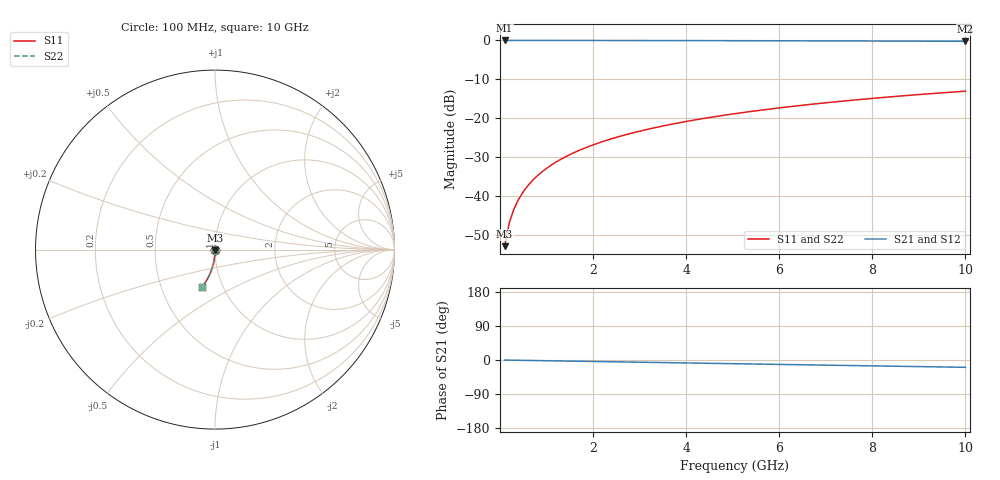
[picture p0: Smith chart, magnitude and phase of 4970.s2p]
# Hz S RI R 50.00
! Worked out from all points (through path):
!   100 points, 100 MHz to 10 GHz, reference 50 ohm
!   highest |S21| = 0.00 dB at 100 MHz (marker M1); lowest = -0.2 dB at 10 GHz (marker M2)
!   group delay of S21, straight-line fit = 5.37 ps
!   lowest |S11| = -52.8 dB at 100 MHz (marker M3), VSWR 1.00, Z = 50 - j0.228 ohm
!   |S11| at or under -10 dB: start of sweep to end of sweep
!   |S22| runs from -52.8 to -13.0 dB; largest |S21 - S12| = 0
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1e8  0.000159 -0.00228  0.9998 -0.00338  0.9998 -0.00338  0.000159 -0.00228
2e8  0.000135 -0.00456  0.9998 -0.00675  0.9998 -0.00675  0.000135 -0.00456
3e8  9.43e-05 -0.00683  0.9997 -0.0101  0.9997 -0.0101  9.43e-05 -0.00683
4e8  3.85e-05 -0.00911  0.9997 -0.0135  0.9997 -0.0135  3.85e-05 -0.00911
5e8  -3.29e-05 -0.0114  0.9996 -0.0169  0.9996 -0.0169  -3.29e-05 -0.0114
6e8  -0.00012 -0.0137  0.9995 -0.0203  0.9995 -0.0203  -0.00012 -0.0137
7e8  -0.000222 -0.0159  0.9994 -0.0236  0.9994 -0.0236  -0.000222 -0.0159
8e8  -0.00034 -0.0182  0.9993 -0.027  0.9993 -0.027  -0.00034 -0.0182
9e8  -0.000473 -0.0205  0.9991 -0.0304  0.9991 -0.0304  -0.000473 -0.0205
1.1e9  -0.000786 -0.025  0.9988 -0.0371  0.9988 -0.0371  -0.000786 -0.025
1.4e9  -0.00137 -0.0319  0.9982 -0.0473  0.9982 -0.0473  -0.00137 -0.0319
1.8e9  -0.00237 -0.0409  0.9971 -0.0607  0.9971 -0.0607  -0.00237 -0.0409
2.1e9  -0.00327 -0.0477  0.9961 -0.0708  0.9961 -0.0708  -0.00327 -0.0477
2.5e9  -0.0047 -0.0568  0.9946 -0.0843  0.9946 -0.0843  -0.0047 -0.0568
2.9e9  -0.00637 -0.0658  0.9928 -0.0977  0.9928 -0.0977  -0.00637 -0.0658
3.4e9  -0.0088 -0.0769  0.9901 -0.1144  0.9901 -0.1144  -0.0088 -0.0769
4.2e9  -0.0135 -0.0946  0.9851 -0.141  0.9851 -0.141  -0.0135 -0.0946
5.1e9  -0.0199 -0.1142  0.9782 -0.1705  0.9782 -0.1705  -0.0199 -0.1142
5.9e9  -0.0265 -0.1312  0.971 -0.1965  0.971 -0.1965  -0.0265 -0.1312
6.7e9  -0.0341 -0.1478  0.9628 -0.2221  0.9628 -0.2221  -0.0341 -0.1478
8.4e9  -0.0529 -0.1813  0.9423 -0.2748  0.9423 -0.2748  -0.0529 -0.1813
1e10  -0.0738 -0.2105  0.9195 -0.3222  0.9195 -0.3222  -0.0738 -0.2105
